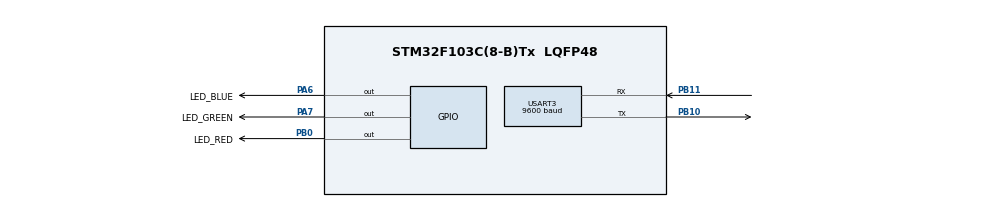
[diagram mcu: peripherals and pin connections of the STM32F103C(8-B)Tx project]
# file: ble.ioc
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Dma.Request0=USART3_RX
Dma.Request1=USART3_TX
Dma.USART3_RX.0.Direction=DMA_PERIPH_TO_MEMORY
Dma.USART3_RX.0.Instance=DMA1_Channel3
Dma.USART3_RX.0.MemDataAlignment=DMA_MDATAALIGN_BYTE
Dma.USART3_RX.0.MemInc=DMA_MINC_ENABLE
Dma.USART3_RX.0.Mode=DMA_NORMAL
Dma.USART3_RX.0.PeriphDataAlignment=DMA_PDATAALIGN_BYTE
Dma.USART3_RX.0.PeriphInc=DMA_PINC_DISABLE
Dma.USART3_RX.0.Priority=DMA_PRIORITY_LOW
Dma.USART3_TX.1.Direction=DMA_MEMORY_TO_PERIPH
Dma.USART3_TX.1.Instance=DMA1_Channel2
Dma.USART3_TX.1.MemDataAlignment=DMA_MDATAALIGN_BYTE
Dma.USART3_TX.1.MemInc=DMA_MINC_ENABLE
Dma.USART3_TX.1.Mode=DMA_NORMAL
Dma.USART3_TX.1.PeriphDataAlignment=DMA_PDATAALIGN_BYTE
Dma.USART3_TX.1.PeriphInc=DMA_PINC_DISABLE
Dma.USART3_TX.1.Priority=DMA_PRIORITY_LOW
Mcu.Family=STM32F1
Mcu.Name=STM32F103C(8-B)Tx
Mcu.Package=LQFP48
NVIC.DMA1_Channel2_IRQn=true\:0\:0\:false\:false\:true\:false\:true\:true
NVIC.DMA1_Channel3_IRQn=true\:0\:0\:false\:false\:true\:false\:true\:true
NVIC.PriorityGroup=NVIC_PRIORITYGROUP_4
NVIC.USART3_IRQn=true\:0\:0\:false\:false\:true\:true\:true\:true
PA13.Mode=Serial_Wire
PA13.Signal=SYS_JTMS-SWDIO
PA14.Mode=Serial_Wire
PA14.Signal=SYS_JTCK-SWCLK
PA6.GPIO_Label=LED_BLUE
PA6.Signal=GPIO_Output
PA7.GPIO_Label=LED_GREEN
PA7.Signal=GPIO_Output
PB0.GPIO_Label=LED_RED
PB0.Signal=GPIO_Output
PB10.Mode=Asynchronous
PB10.Signal=USART3_TX
PB11.Mode=Asynchronous
PB11.Signal=USART3_RX
ProjectManager.HeapSize=0x200
ProjectManager.StackSize=0x400
ProjectManager.TargetToolchain=STM32CubeIDE
RCC.APB1Freq_Value=8000000
RCC.APB2Freq_Value=8000000
USART3.BaudRate=9600
USART3.VirtualMode=VM_ASYNC
board=custom

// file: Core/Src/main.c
/* USER CODE BEGIN Header */
/**
  ******************************************************************************
  * @file           : main.c
  * @brief          : Main program body
  ******************************************************************************
  * @attention
  *
  * Copyright (c) 2025 STMicroelectronics.
  * All rights reserved.
  *
  * This software is licensed under terms that can be found in the LICENSE file
  * in the root directory of this software component.
  * If no LICENSE file comes with this software, it is provided AS-IS.
  *
  ******************************************************************************
  */
/* USER CODE END Header */
#include "main.h"

UART_HandleTypeDef huart3;
DMA_HandleTypeDef hdma_usart3_rx;
DMA_HandleTypeDef hdma_usart3_tx;

/* USER CODE BEGIN PV */
uint8_t receiveData[50];
/* USER CODE END PV */

void SystemClock_Config(void);
static void MX_GPIO_Init(void);
static void MX_DMA_Init(void);
static void MX_USART3_UART_Init(void);

/* USER CODE BEGIN 0 */

void HAL_UARTEx_RxEventCallback(UART_HandleTypeDef *huart, uint16_t Size){

	if(huart == &huart3){
		HAL_UART_Transmit_DMA(&huart3, receiveData, Size);

		if(receiveData[0]==0xAA){
			if(receiveData[1]==Size){
				uint8_t sum = 0;
				for (int i = 0 ;i<Size-1 ;i++){
					sum+=receiveData[1];
				}

				if (sum==receiveData[Size - 1]){
					for (int i =2;i<Size-1; i+=2){
						GPIO_PinState state = GPIO_PIN_SET;
						if(receiveData[i+1]==0x00){
							state = GPIO_PIN_RESET;
							  }
						if(receiveData[i] == 0x01){
							  HAL_GPIO_WritePin(LED_RED_GPIO_Port, LED_RED_Pin, state);
							   }
						else if(receiveData[i] == 0x03){
						 		  HAL_GPIO_WritePin(LED_BLUE_GPIO_Port, LED_BLUE_Pin, state);
						 	  }
						else if(receiveData[i] == 0x02){
							  HAL_GPIO_WritePin(LED_GREEN_GPIO_Port, LED_GREEN_Pin, state);
							  }

				}
			  }
			}
		}

		 HAL_UARTEx_ReceiveToIdle_DMA(&huart3, receiveData, sizeof(receiveData));
		 __HAL_DMA_DISABLE_IT(&hdma_usart3_rx, DMA_IT_HT);
	}
}
/* USER CODE END 0 */

int main(void)
{

  /* MCU Configuration--------------------------------------------------------*/

  /* Reset of all peripherals, Initializes the Flash interface and the Systick. */
  HAL_Init();

  /* Configure the system clock */
  SystemClock_Config();

  /* Initialize all configured peripherals */
  MX_GPIO_Init();
  MX_DMA_Init();
  MX_USART3_UART_Init();
  /* USER CODE BEGIN 2 */
  HAL_UARTEx_ReceiveToIdle_DMA(&huart3, receiveData, sizeof(receiveData));
  		 __HAL_DMA_DISABLE_IT(&hdma_usart3_rx, DMA_IT_HT);
  /* USER CODE END 2 */

  /* Infinite loop */
  while (1)
  {

  }
}

void SystemClock_Config(void)
{
  RCC_OscInitTypeDef RCC_OscInitStruct = {0};
  RCC_ClkInitTypeDef RCC_ClkInitStruct = {0};

  /** Initializes the RCC Oscillators according to the specified parameters
  * in the RCC_OscInitTypeDef structure.
  */
  RCC_OscInitStruct.OscillatorType = RCC_OSCILLATORTYPE_HSI;
  RCC_OscInitStruct.HSIState = RCC_HSI_ON;
  RCC_OscInitStruct.HSICalibrationValue = RCC_HSICALIBRATION_DEFAULT;
  RCC_OscInitStruct.PLL.PLLState = RCC_PLL_NONE;
  if (HAL_RCC_OscConfig(&RCC_OscInitStruct) != HAL_OK)
  {
    Error_Handler();
  }

  /** Initializes the CPU, AHB and APB buses clocks
  */
  RCC_ClkInitStruct.ClockType = RCC_CLOCKTYPE_HCLK|RCC_CLOCKTYPE_SYSCLK
                              |RCC_CLOCKTYPE_PCLK1|RCC_CLOCKTYPE_PCLK2;
  RCC_ClkInitStruct.SYSCLKSource = RCC_SYSCLKSOURCE_HSI;
  RCC_ClkInitStruct.AHBCLKDivider = RCC_SYSCLK_DIV1;
  RCC_ClkInitStruct.APB1CLKDivider = RCC_HCLK_DIV1;
  RCC_ClkInitStruct.APB2CLKDivider = RCC_HCLK_DIV1;

  if (HAL_RCC_ClockConfig(&RCC_ClkInitStruct, FLASH_LATENCY_0) != HAL_OK)
  {
    Error_Handler();
  }
}

static void MX_USART3_UART_Init(void)
{

  huart3.Instance = USART3;
  huart3.Init.BaudRate = 9600;
  huart3.Init.WordLength = UART_WORDLENGTH_8B;
  huart3.Init.StopBits = UART_STOPBITS_1;
  huart3.Init.Parity = UART_PARITY_NONE;
  huart3.Init.Mode = UART_MODE_TX_RX;
  huart3.Init.HwFlowCtl = UART_HWCONTROL_NONE;
  huart3.Init.OverSampling = UART_OVERSAMPLING_16;
  if (HAL_UART_Init(&huart3) != HAL_OK)
  {
    Error_Handler();
  }

}

static void MX_DMA_Init(void)
{

  /* DMA controller clock enable */
  __HAL_RCC_DMA1_CLK_ENABLE();

  /* DMA interrupt init */
  /* DMA1_Channel2_IRQn interrupt configuration */
  HAL_NVIC_SetPriority(DMA1_Channel2_IRQn, 0, 0);
  HAL_NVIC_EnableIRQ(DMA1_Channel2_IRQn);
  /* DMA1_Channel3_IRQn interrupt configuration */
  HAL_NVIC_SetPriority(DMA1_Channel3_IRQn, 0, 0);
  HAL_NVIC_EnableIRQ(DMA1_Channel3_IRQn);

}

static void MX_GPIO_Init(void)
{
  GPIO_InitTypeDef GPIO_InitStruct = {0};

  /* GPIO Ports Clock Enable */
  __HAL_RCC_GPIOA_CLK_ENABLE();
  __HAL_RCC_GPIOB_CLK_ENABLE();

  /*Configure GPIO pin Output Level */
  HAL_GPIO_WritePin(GPIOA, LED_BLUE_Pin|LED_GREEN_Pin, GPIO_PIN_RESET);

  /*Configure GPIO pin Output Level */
  HAL_GPIO_WritePin(LED_RED_GPIO_Port, LED_RED_Pin, GPIO_PIN_RESET);

  /*Configure GPIO pins : LED_BLUE_Pin LED_GREEN_Pin */
  GPIO_InitStruct.Pin = LED_BLUE_Pin|LED_GREEN_Pin;
  GPIO_InitStruct.Mode = GPIO_MODE_OUTPUT_PP;
  GPIO_InitStruct.Pull = GPIO_NOPULL;
  GPIO_InitStruct.Speed = GPIO_SPEED_FREQ_LOW;
  HAL_GPIO_Init(GPIOA, &GPIO_InitStruct);

  /*Configure GPIO pin : LED_RED_Pin */
  GPIO_InitStruct.Pin = LED_RED_Pin;
  GPIO_InitStruct.Mode = GPIO_MODE_OUTPUT_PP;
  GPIO_InitStruct.Pull = GPIO_NOPULL;
  GPIO_InitStruct.Speed = GPIO_SPEED_FREQ_LOW;
  HAL_GPIO_Init(LED_RED_GPIO_Port, &GPIO_InitStruct);

}

void Error_Handler(void)
{
  __disable_irq();
  while (1)
  {
  }
}
